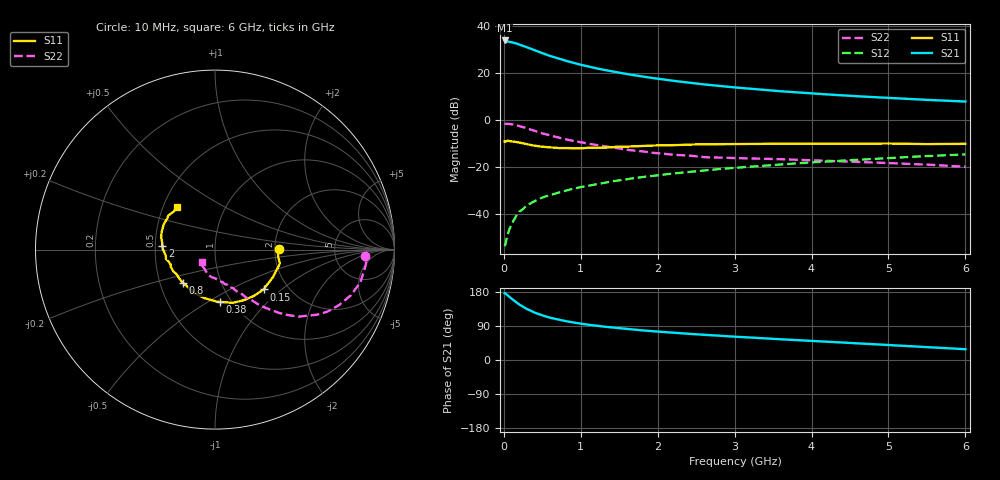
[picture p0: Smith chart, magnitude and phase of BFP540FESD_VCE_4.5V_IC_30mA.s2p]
! Infineon Technologies  Discrete & RF Semiconductors
! BFP540FESD
! VCE =  4.5 V,  IC =  30 mA
! Common Emitter S-Parameters:  Nov 2015
# GHz  S  MA  R  50
!  f  S11  S21  S12  S22
! GHz  MAG  ANG  MAG  ANG  MAG  ANG  MAG  ANG
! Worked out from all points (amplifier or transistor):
!   210 points, 10 MHz to 6 GHz, reference 50 ohm
!   highest |S21| = 34.0 dB at 10 MHz (marker M1)
!   |S21| within 3 dB of that: start of sweep to 308.6 MHz
!   unconditionally stable (mu >= 1): start of sweep to 45.5 MHz; 1.513 GHz to end of sweep
!   at 185 MHz: K = 0.56, MSG = 36.0 dB, |S12| = -39.5 dB
!   at 1.52 GHz: K = 1.00, MAG = 22.6 dB, |S12| = -25.4 dB
!   at 6 GHz: K = 1.16, MAG = 8.8 dB, |S12| = -14.5 dB
!   S11 on the Smith chart (normalised r, x): 10 MHz: 2.11, +0.00; 150 MHz: 1.51, -0.76; 380 MHz: 0.89, -0.57; 800 MHz: 0.66, -0.26; 2 GHz: 0.55, +0.03; 6 GHz: 0.59, +0.31
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0.01  0.3559 0.1  50.25 176.5  0.0021 24.4  0.8349 -2.5
0.02  0.3529 -5.5  47.98 175.4  0.0023 24.9  0.8447 -1.2
0.05  0.3695 -12.3  47.85 170.4  0.0037 53.8  0.845 -5.6
0.1  0.3582 -25.0  45.98 161.9  0.0061 58.5  0.8308 -12.5
0.15  0.35 -39.4  44.12 154.1  0.0086 66.7  0.7996 -18.5
0.2  0.3373 -49.7  41.36 146.6  0.0114 66.1  0.7586 -23.9
0.26  0.3215 -62.4  38.1 139.3  0.0134 64.4  0.7107 -29.3
0.3  0.3128 -71.4  36.03 134.5  0.0155 63.4  0.6763 -32.4
0.38  0.2928 -84.3  31.98 127.1  0.0183 64.8  0.6136 -37.2
0.4  0.2903 -87.7  31.07 125.0  0.019 65.1  0.5987 -38.6
0.5  0.2767 -102.2  27.01 117.6  0.0228 63.6  0.5295 -43.1
0.6  0.2675 -114.1  23.54 111.6  0.0256 64.8  0.4763 -46.2
0.8  0.2575 -133.7  18.66 102.6  0.0319 64.8  0.3958 -51.4
1.02  0.2554 -148.1  15.01 95.4  0.0385 65.5  0.3369 -55.0
1.2  0.2644 -158.3  12.84 90.4  0.0437 64.9  0.2993 -58.3
1.5  0.2783 -169.2  10.34 83.8  0.0529 64.7  0.2526 -63.7
2  0.2937 175.9  7.696 74.9  0.0676 62.5  0.2003 -74.1
2.02  0.2939 175.6  7.622 74.6  0.0682 62.4  0.1988 -74.4
3.1  0.3147 159.2  4.875 60.5  0.1001 56.9  0.1563 -94.6
4.1  0.3181 151.3  3.657 49.3  0.1305 51.0  0.1392 -107.4
5.1  0.3198 142.8  2.952 38.3  0.1613 43.4  0.1215 -119.4
6  0.3167 131.8  2.519 28.5  0.1889 36.2  0.1029 -136.8
